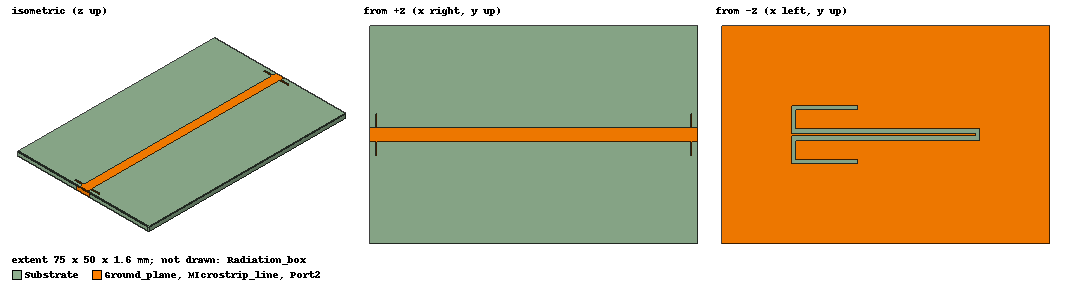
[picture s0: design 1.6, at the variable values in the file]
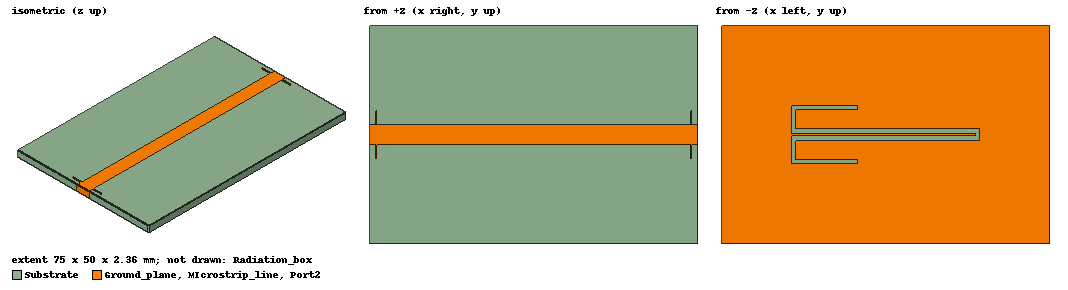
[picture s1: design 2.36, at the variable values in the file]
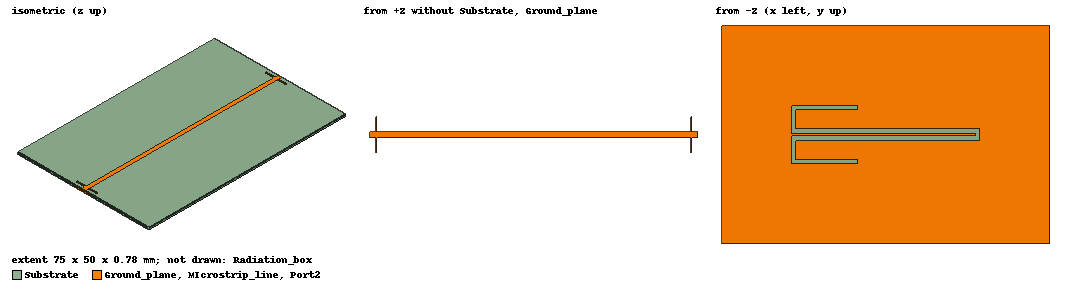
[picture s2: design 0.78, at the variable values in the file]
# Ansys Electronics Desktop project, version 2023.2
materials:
  vacuum: permittivity=1
  FR4_epoxy: permittivity=4.4 dielectric_loss_tangent=0.02
  air: permittivity=1.0006 permeability=1.0000004

design 1.6 (HFSS, HFSS Terminal Network, model units mm)
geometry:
  Substrate [FR4_epoxy] = box(corner=(-37.5mm, -25mm, 0mm), size=(75mm, 50mm, 1.6mm))
  Ground_plane = rectangle(corner=(-37.5mm, -25mm, 0mm), x_size=75mm, y_size=50mm)
  Rectangle1 = rectangle(corner=(-21.5mm, -1.3mm, 0mm), x_size=43mm, y_size=1mm)
  Rectangle2 = rectangle(corner=(-21.5mm, 0.3mm, 0mm), x_size=43mm, y_size=1mm)
  Rectangle3 = rectangle(corner=(-21.5mm, -0.3mm, 0mm), x_size=1mm, y_size=0.6mm)
  Rectangle4 = rectangle(corner=(21.5mm, -1.3mm, 0mm), x_size=-1mm, y_size=-4.4mm)
  Rectangle5 = rectangle(corner=(21.5mm, 5.7mm, 0mm), x_size=-1mm, y_size=-4.4mm)
  Rectangle6 = rectangle(corner=(21.5mm, -5.7mm, 0mm), x_size=-15mm, y_size=-1mm)
  Rectangle7 = rectangle(corner=(21.5mm, 6.7mm, 0mm), x_size=-15mm, y_size=-1mm)
  Ground_plane.subtract(Rectangle1..Rectangle7)
  MIcrostrip_line = rectangle(corner=(-37.5mm, -1.5mm, 1.6mm), x_size=75mm, y_size=3mm)
  Rectangle8 = rectangle(corner=(35.8mm, -1.5mm, 1.6mm), x_size=0.4mm, y_size=-3.4mm)
  Rectangle9 = rectangle(corner=(35.8mm, 1.5mm, 1.6mm), x_size=0.4mm, y_size=3.4mm)
  Rectangle10 = rectangle(corner=(-36.2mm, -1.5mm, 1.6mm), x_size=0.4mm, y_size=-3.4mm)
  Rectangle11 = rectangle(corner=(-36.2mm, 1.5mm, 1.6mm), x_size=0.4mm, y_size=3.4mm)
  MIcrostrip_line.unite(Rectangle8..Rectangle11)
  Port1 = rectangle(corner=(-37.5mm, -2.5mm, 1.6mm), y_size=5mm, z_size=-1.6mm)
  Port2 = rectangle(corner=(37.5mm, -2.5mm, 1.6mm), y_size=5mm, z_size=-1.6mm)
  Radiation_box [air] = box(corner=(-60mm, -45mm, -10mm), size=(125mm, 90mm, 35mm))
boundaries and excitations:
  PerfE1: Perfect E Objects=Ground_plane
  PerfE2: Perfect E Objects=MIcrostrip_line
  Rad1: Radiation Objects=Radiation_box
  1: Lumped Port Objects=Port1 LumpedPortType=Modal Modes{Mode1{IntLine{(-37.5, 0, 0) -> (-37.5, 0, 1.6)} CharImp=Zpi RenormImp=50ohm}} Impedance=50ohm
  2: Lumped Port Objects=Port2 LumpedPortType=Modal Modes{Mode1{IntLine{(37.5, 0, 0) -> (37.5, 0, 1.6)} CharImp=Zpi RenormImp=50ohm}} Impedance=50ohm
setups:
  Setup1: HfssDriven Frequency=1GHz MaxDeltaS=0.02 MaximumPasses=6 MinimumPasses=1 MinimumConvergedPasses=1 PercentRefinement=30 BasisOrder=1 PortAccuracy=2 DrivenSolverType="Direct Solver"
    sweep Sweep: 0.1GHz to 1.5GHz, 901 points; Type=Fast SaveFields
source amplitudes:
  1:1: 1V 0deg
  2:1: 0V 0deg
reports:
  S Parameter Plot 1: dB(S(1,1)), dB(S(2,1)), dB(S(1,2)), dB(S(2,2)) vs Freq on Setup1 : Sweep; markers m1 at 0.93222222GHz, m2 at 0.96177778GHz, m3 at 0.59933333GHz, m4 at 1.0877778GHz, m5 at 0.32244444GHz

design 2.36 (HFSS, HFSS Terminal Network, model units mm)
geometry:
  Substrate [FR4_epoxy] = box(corner=(-37.5mm, -25mm, 0mm), size=(75mm, 50mm, 2.36mm))
  Ground_plane = rectangle(corner=(-37.5mm, -25mm, 0mm), x_size=75mm, y_size=50mm)
  Rectangle1 = rectangle(corner=(-21.5mm, -1.3mm, 0mm), x_size=43mm, y_size=1mm)
  Rectangle2 = rectangle(corner=(-21.5mm, 0.3mm, 0mm), x_size=43mm, y_size=1mm)
  Rectangle3 = rectangle(corner=(-21.5mm, -0.3mm, 0mm), x_size=1mm, y_size=0.6mm)
  Rectangle4 = rectangle(corner=(21.5mm, -1.3mm, 0mm), x_size=-1mm, y_size=-4.4mm)
  Rectangle5 = rectangle(corner=(21.5mm, 5.7mm, 0mm), x_size=-1mm, y_size=-4.4mm)
  Rectangle6 = rectangle(corner=(21.5mm, -5.7mm, 0mm), x_size=-15mm, y_size=-1mm)
  Rectangle7 = rectangle(corner=(21.5mm, 6.7mm, 0mm), x_size=-15mm, y_size=-1mm)
  Ground_plane.subtract(Rectangle1..Rectangle7)
  MIcrostrip_line = rectangle(corner=(-37.5mm, -2.2mm, 2.36mm), x_size=75mm, y_size=4.4mm)
  Rectangle8 = rectangle(corner=(35.8mm, -2.2mm, 2.36mm), x_size=0.4mm, y_size=-3.4mm)
  Rectangle9 = rectangle(corner=(35.8mm, 2.2mm, 2.36mm), x_size=0.4mm, y_size=3.4mm)
  Rectangle10 = rectangle(corner=(-36.2mm, -2.2mm, 2.36mm), x_size=0.4mm, y_size=-3.4mm)
  Rectangle11 = rectangle(corner=(-36.2mm, 2.2mm, 2.36mm), x_size=0.4mm, y_size=3.4mm)
  MIcrostrip_line.unite(Rectangle8..Rectangle11)
  Port1 = rectangle(corner=(-37.5mm, -2.5mm, 2.36mm), y_size=5mm, z_size=-2.36mm)
  Port2 = rectangle(corner=(37.5mm, -2.5mm, 2.36mm), y_size=5mm, z_size=-2.36mm)
  Radiation_box [air] = box(corner=(-60mm, -45mm, -10mm), size=(125mm, 90mm, 35mm))
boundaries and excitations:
  PerfE1: Perfect E Objects=Ground_plane
  PerfE2: Perfect E Objects=MIcrostrip_line
  Rad1: Radiation Objects=Radiation_box
  1: Lumped Port Objects=Port1 LumpedPortType=Modal Modes{Mode1{IntLine{(-37.5, 0, 0) -> (-37.5, 0, 2.36)} CharImp=Zpi RenormImp=50ohm}} Impedance=50ohm
  2: Lumped Port Objects=Port2 LumpedPortType=Modal Modes{Mode1{IntLine{(37.5, 0, 0) -> (37.5, 0, 2.36)} CharImp=Zpi RenormImp=50ohm}} Impedance=50ohm
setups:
  Setup1: HfssDriven Frequency=1GHz MaxDeltaS=0.02 MaximumPasses=6 MinimumPasses=1 MinimumConvergedPasses=1 PercentRefinement=30 BasisOrder=1 PortAccuracy=2 DrivenSolverType="Direct Solver"
    sweep Sweep: 0.1GHz to 1.5GHz, 901 points; Type=Fast SaveFields
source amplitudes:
  1:1: 1V 0deg
  2:1: 0V 0deg
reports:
  S Parameter Plot 1: dB(S(1,1)), dB(S(2,1)), dB(S(1,2)), dB(S(2,2)) vs Freq on Setup1 : Sweep; markers m1 at 0.88711111GHz, m2 at 0.90266667GHz, m3 at 0.324GHz, m4 at 0.46866667GHz, m5 at 1.0286667GHz

design 0.78 (HFSS, HFSS Terminal Network, model units mm)
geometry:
  Substrate [FR4_epoxy] = box(corner=(-37.5mm, -25mm, 0mm), size=(75mm, 50mm, 0.78mm))
  Ground_plane = rectangle(corner=(-37.5mm, -25mm, 0mm), x_size=75mm, y_size=50mm)
  Rectangle1 = rectangle(corner=(-21.5mm, -1.3mm, 0mm), x_size=43mm, y_size=1mm)
  Rectangle2 = rectangle(corner=(-21.5mm, 0.3mm, 0mm), x_size=43mm, y_size=1mm)
  Rectangle3 = rectangle(corner=(-21.5mm, -0.3mm, 0mm), x_size=1mm, y_size=0.6mm)
  Rectangle4 = rectangle(corner=(21.5mm, -1.3mm, 0mm), x_size=-1mm, y_size=-4.4mm)
  Rectangle5 = rectangle(corner=(21.5mm, 5.7mm, 0mm), x_size=-1mm, y_size=-4.4mm)
  Rectangle6 = rectangle(corner=(21.5mm, -5.7mm, 0mm), x_size=-15mm, y_size=-1mm)
  Rectangle7 = rectangle(corner=(21.5mm, 6.7mm, 0mm), x_size=-15mm, y_size=-1mm)
  Ground_plane.subtract(Rectangle1..Rectangle7)
  MIcrostrip_line = rectangle(corner=(-37.5mm, -0.7mm, 0.78mm), x_size=75mm, y_size=1.4mm)
  Rectangle8 = rectangle(corner=(35.8mm, -0.7mm, 0.78mm), x_size=0.4mm, y_size=-3.4mm)
  Rectangle9 = rectangle(corner=(35.8mm, 0.7mm, 0.78mm), x_size=0.4mm, y_size=3.4mm)
  Rectangle10 = rectangle(corner=(-36.2mm, -0.7mm, 0.78mm), x_size=0.4mm, y_size=-3.4mm)
  Rectangle11 = rectangle(corner=(-36.2mm, 0.7mm, 0.78mm), x_size=0.4mm, y_size=3.4mm)
  MIcrostrip_line.unite(Rectangle8..Rectangle11)
  Port1 = rectangle(corner=(-37.5mm, -2.5mm, 0.78mm), y_size=5mm, z_size=-0.78mm)
  Port2 = rectangle(corner=(37.5mm, -2.5mm, 0.78mm), y_size=5mm, z_size=-0.78mm)
  Radiation_box [air] = box(corner=(-60mm, -45mm, -10mm), size=(125mm, 90mm, 35mm))
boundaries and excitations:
  PerfE1: Perfect E Objects=Ground_plane
  PerfE2: Perfect E Objects=MIcrostrip_line
  Rad1: Radiation Objects=Radiation_box
  1: Lumped Port Objects=Port1 LumpedPortType=Modal Modes{Mode1{IntLine{(-37.5, 0, 0) -> (-37.5, 0, 0.78)} CharImp=Zpi RenormImp=50ohm}} Impedance=50ohm
  2: Lumped Port Objects=Port2 LumpedPortType=Modal Modes{Mode1{IntLine{(37.5, 0, 0) -> (37.5, 0, 0.78)} CharImp=Zpi RenormImp=50ohm}} Impedance=50ohm
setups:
  Setup1: HfssDriven Frequency=1GHz MaxDeltaS=0.02 MaximumPasses=6 MinimumPasses=1 MinimumConvergedPasses=1 PercentRefinement=30 BasisOrder=1 PortAccuracy=2 DrivenSolverType="Direct Solver"
    sweep Sweep: 0.1GHz to 1.5GHz, 901 points; Type=Fast SaveFields
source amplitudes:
  1:1: 1V 0deg
  2:1: 0V 0deg
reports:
  S Parameter Plot 1: dB(S(1,1)), dB(S(2,1)), dB(S(1,2)), dB(S(2,2)) vs Freq on Setup1 : Sweep; markers m1 at 0.91511111GHz, m2 at 0.99911111GHz, m3 at 0.43288889GHz, m4 at 1.2588889GHz, m5 at 0.96022222GHz
